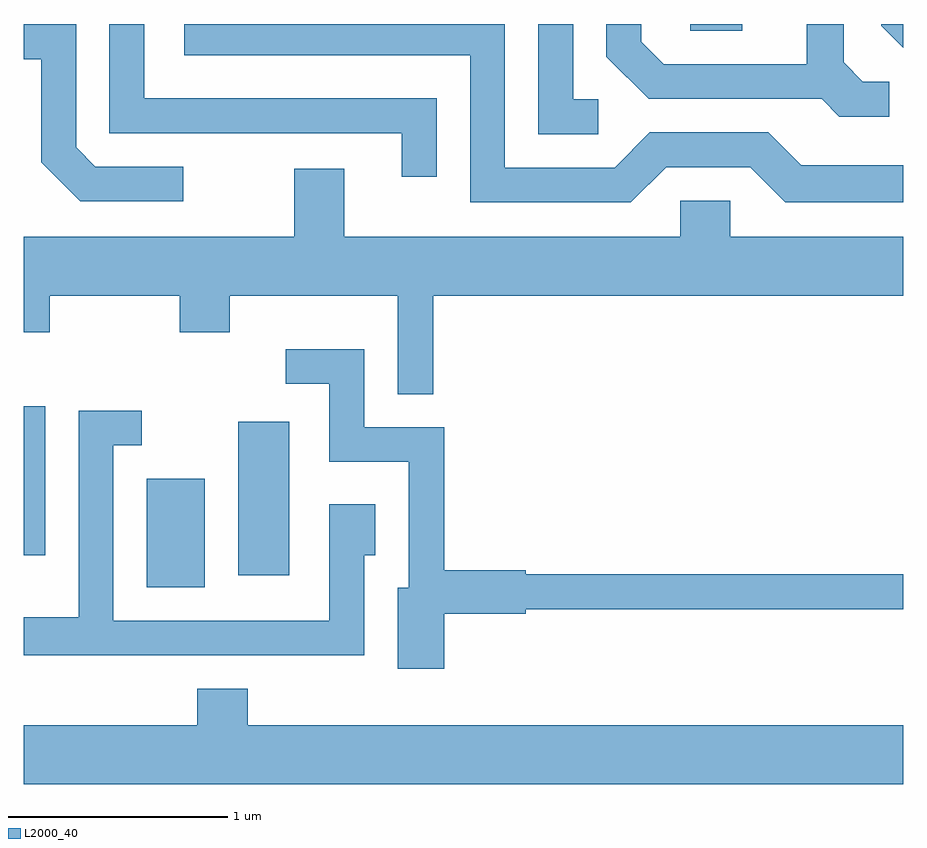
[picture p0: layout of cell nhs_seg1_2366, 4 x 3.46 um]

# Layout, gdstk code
import gdstk
lib = gdstk.Library(unit=1e-6, precision=1e-09)
def R(c, l, rs):  # rectangles x0, y0, x1, y1
    for r in rs: c.add(gdstk.rectangle(r[:2], r[2:], *l))
def P(c, l, *ps):  # polygons
    for p in ps: c.add(gdstk.Polygon(p, *l))
L2000_40 = (2000, 40)

nhs_seg1_2366 = lib.new_cell('nhs_seg1_2366')
R(nhs_seg1_2366, L2000_40, [(258.171,887.151,258.434,887.644), (258.586,887.206,258.819,887.904), (257.611,887.296,257.709,887.974), (260.641,889.681,260.879,889.712)])
P(nhs_seg1_2366, L2000_40, [(260.532,889.061),(260.914,889.061),(261.074,888.901),(261.611,888.901),(261.611,889.069),(261.147,889.069),(260.997,889.219),(260.459,889.219),(260.299,889.059),(259.799,889.059),(259.799,889.712),(258.341,889.712),(258.341,889.571),(259.641,889.571),(259.641,888.901),(260.372,888.901)],
  [(261.611,889.712),(261.511,889.712),(261.511,889.704),(261.611,889.604)],
  [(258.337,889.064),(257.937,889.064),(257.849,889.152),(257.849,889.712),(257.611,889.712),(257.611,889.551),(257.691,889.551),(257.691,889.084),(257.868,888.906),(258.337,888.906)],
  [(260.223,889.369),(260.109,889.369),(260.109,889.712),(259.951,889.712),(259.951,889.211),(260.223,889.211)],
  [(261.548,889.449),(261.427,889.449),(261.339,889.537),(261.339,889.712),(261.171,889.712),(261.171,889.529),(260.522,889.529),(260.419,889.632),(260.419,889.712),(260.261,889.712),(260.261,889.564),(260.454,889.371),(261.239,889.371),(261.319,889.291),(261.548,889.291)],
  [(259.489,889.374),(258.159,889.374),(258.159,889.712),(258.001,889.712),(258.001,889.216),(259.331,889.216),(259.331,889.018),(259.489,889.018)],
  [(259.474,888.476),(261.611,888.476),(261.611,888.744),(260.824,888.744),(260.824,888.909),(260.596,888.909),(260.596,888.744),(259.069,888.744),(259.069,889.054),(258.841,889.054),(258.841,888.744),(257.611,888.744),(257.611,888.311),(257.729,888.311),(257.729,888.476),(258.321,888.476),(258.321,888.311),(258.549,888.311),(258.549,888.476),(259.311,888.476),(259.311,888.028),(259.474,888.028)],
  [(259.524,887.031),(259.894,887.031),(259.894,887.051),(261.611,887.051),(261.611,887.209),(259.894,887.209),(259.894,887.229),(259.524,887.229),(259.524,887.879),(259.159,887.879),(259.159,888.234),(258.803,888.234),(258.803,888.076),(259.001,888.076),(259.001,887.721),(259.361,887.721),(259.361,887.149),(259.311,887.149),(259.311,886.781),(259.524,886.781)],
  [(259.159,887.296),(259.209,887.296),(259.209,887.529),(259.001,887.529),(259.001,886.999),(258.019,886.999),(258.019,887.796),(258.147,887.796),(258.147,887.954),(257.861,887.954),(257.861,887.014),(257.611,887.014),(257.611,886.841),(259.159,886.841)],
  [(261.611,886.524),(258.629,886.524),(258.629,886.689),(258.401,886.689),(258.401,886.524),(257.611,886.524),(257.611,886.256),(261.611,886.256)])

lib.write_gds('nhs_seg1_2366.gds')
